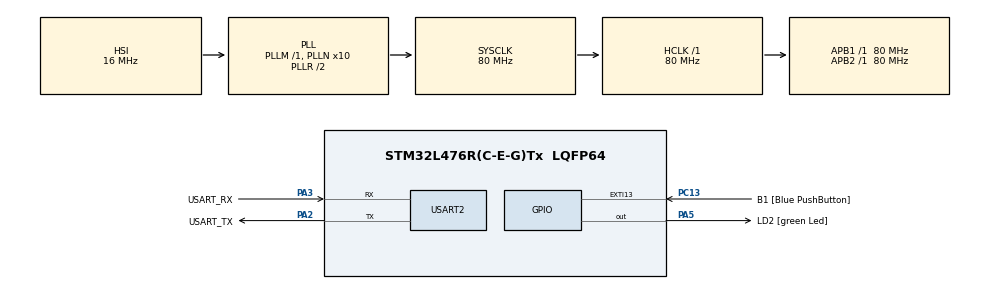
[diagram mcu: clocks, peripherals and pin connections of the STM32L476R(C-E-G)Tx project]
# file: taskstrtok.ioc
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Mcu.Family=STM32L4
Mcu.Name=STM32L476R(C-E-G)Tx
Mcu.Package=LQFP64
NVIC.PriorityGroup=NVIC_PRIORITYGROUP_4
PA13\ (JTMS-SWDIO).GPIO_Label=TMS
PA13\ (JTMS-SWDIO).Mode=Serial_Wire
PA13\ (JTMS-SWDIO).Signal=SYS_JTMS-SWDIO
PA14\ (JTCK-SWCLK).GPIO_Label=TCK
PA14\ (JTCK-SWCLK).Mode=Serial_Wire
PA14\ (JTCK-SWCLK).Signal=SYS_JTCK-SWCLK
PA2.GPIO_Label=USART_TX
PA2.GPIO_Mode=GPIO_MODE_AF_PP
PA2.GPIO_PuPd=GPIO_NOPULL
PA2.GPIO_Speed=GPIO_SPEED_FREQ_VERY_HIGH
PA2.Mode=Asynchronous
PA2.Signal=USART2_TX
PA3.GPIO_Label=USART_RX
PA3.GPIO_Mode=GPIO_MODE_AF_PP
PA3.GPIO_PuPd=GPIO_NOPULL
PA3.GPIO_Speed=GPIO_SPEED_FREQ_VERY_HIGH
PA3.Mode=Asynchronous
PA3.Signal=USART2_RX
PA5.GPIO_Label=LD2 [green Led]
PA5.GPIO_ModeDefaultOutputPP=GPIO_MODE_OUTPUT_PP
PA5.GPIO_PuPd=GPIO_NOPULL
PA5.GPIO_Speed=GPIO_SPEED_FREQ_LOW
PA5.Signal=GPIO_Output
PB3\ (JTDO-TRACESWO).GPIO_Label=SWO
PB3\ (JTDO-TRACESWO).Signal=SYS_JTDO-SWO
PC13.GPIO_Label=B1 [Blue PushButton]
PC13.GPIO_ModeDefaultEXTI=GPIO_MODE_IT_FALLING
PC13.GPIO_PuPd=GPIO_NOPULL
PC13.Signal=GPXTI13
PC14-OSC32_IN\ (PC14).Mode=LSE-External-Oscillator
PC14-OSC32_IN\ (PC14).Signal=RCC_OSC32_IN
PC15-OSC32_OUT\ (PC15).Mode=LSE-External-Oscillator
PC15-OSC32_OUT\ (PC15).Signal=RCC_OSC32_OUT
PH0-OSC_IN\ (PH0).Signal=RCC_OSC_IN
PH1-OSC_OUT\ (PH1).Signal=RCC_OSC_OUT
ProjectManager.HeapSize=0x200
ProjectManager.StackSize=0x400
ProjectManager.TargetToolchain=STM32CubeIDE
RCC.ADCFreq_Value=64000000
RCC.AHBFreq_Value=80000000
RCC.APB1Freq_Value=80000000
RCC.APB1TimFreq_Value=80000000
RCC.APB2Freq_Value=80000000
RCC.APB2TimFreq_Value=80000000
RCC.CortexFreq_Value=80000000
RCC.HCLKFreq_Value=80000000
RCC.HSE_VALUE=8000000
RCC.HSI_VALUE=16000000
RCC.MSI_VALUE=4000000
RCC.PLLN=10
RCC.PLLSourceVirtual=RCC_PLLSOURCE_HSI
RCC.PREFETCH_ENABLE=1
RCC.SYSCLKFreq_VALUE=80000000
RCC.SYSCLKSource=RCC_SYSCLKSOURCE_PLLCLK
RCC.USBFreq_Value=64000000
RCC.VCOOutputFreq_Value=160000000
USART2.VirtualMode-Asynchronous=VM_ASYNC
board=NUCLEO-L476RG

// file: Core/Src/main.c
/* USER CODE BEGIN Header */
/**
  ******************************************************************************
  * @file           : main.c
  * @brief          : Main program body
  ******************************************************************************
  * @attention
  *
  * Copyright (c) 2022 STMicroelectronics.
  * All rights reserved.
  *
  * This software is licensed under terms that can be found in the LICENSE file
  * in the root directory of this software component.
  * If no LICENSE file comes with this software, it is provided AS-IS.
  *
  ******************************************************************************
  */
/* USER CODE END Header */
#include "main.h"

/* USER CODE BEGIN Includes */
#include <stdio.h>
#include <string.h>
#include <stdlib.h>
/* USER CODE END Includes */

 UART_HandleTypeDef huart2;

void SystemClock_Config(void);
static void MX_GPIO_Init(void);
static void MX_USART2_UART_Init(void);

/* USER CODE BEGIN 0 */

/////////////////////////////////////////////////////////////////////////
// Led task definitions and functions
/////////////////////////////////////////////////////////////////////////

enum LedTaskState
{
	LedOn,
	LedOff,
};

enum LedTaskState ledState;
int ledCount;
int ledMaxCount;

void ledTask()
{
	if (ledState == LedOn)
	{
		if (ledCount++ >= ledMaxCount)
		{
			HAL_GPIO_TogglePin(LD2_GPIO_Port, LD2_Pin);
			ledCount = 0;
		}
	}
	else if (ledState == LedOff)
	{
		//HAL_GPIO_WritePin(LD2_GPIO_Port, LD2_Pin, 0);
	}
}

void ledStart(int maxCount)
{
	ledState = LedOn;
	ledMaxCount = maxCount;
}

void ledStop()
{
	ledState = LedOff;
	HAL_GPIO_WritePin(LD2_GPIO_Port, LD2_Pin, 0);
}

/////////////////////////////////////////////////////////////////////////
// Communication task definitions and functions
/////////////////////////////////////////////////////////////////////////

#define MAX_BUFFER_LENGTH 100

uint8_t cmdbuffer[MAX_BUFFER_LENGTH];
int cmdcount = 0;

int commTask()
{
	uint8_t ch;

	HAL_StatusTypeDef Status = HAL_UART_Receive(&huart2, &ch, 1, 0);
	if (Status != HAL_OK) {
		return 0;
	}

	if (ch != '\r' && ch != '\n')
	{
		HAL_UART_Transmit(&huart2, &ch, 1, 0xFFFF);

		if (cmdcount >= MAX_BUFFER_LENGTH)
		{
			cmdcount = 0;
		}

		cmdbuffer[cmdcount++] = ch;
		return 0;
	}

	HAL_UART_Transmit(&huart2, (uint8_t*)"\r\n", 2, 0xFFFF);

	cmdbuffer[cmdcount] = 0;
	cmdcount = 0;
	return 1;
}

/////////////////////////////////////////////////////////////////////////
// REdirecting printf to UART
/////////////////////////////////////////////////////////////////////////
int _write(int fd, char* ptr, int len) {
    HAL_UART_Transmit(&huart2, (uint8_t *) ptr, len, HAL_MAX_DELAY);
    return len;
}

void handleCommand()
{

  int maxCount;

  const char * s = " ";
  char *token;
  token = strtok(cmdbuffer, s);

  while( token != NULL )
  {
	  if (token == 0)
	    {
	  	  return;
	    }

	    if (strcmp(token, "start") == 0)
	    {
	    	token = strtok(NULL, s);
	    	maxCount= atoi (token);
	    	ledStart(maxCount);

	    }
	    else if (strcmp(token, "stop") == 0)
	    {
	  	  ledStop();
	    }
	    else
	    {
	  	  printf("Invalid command\r\n");
	    }

        token = strtok(NULL, s);
  }

}

/* USER CODE END 0 */

int main(void)
{

  /* MCU Configuration--------------------------------------------------------*/

  /* Reset of all peripherals, Initializes the Flash interface and the Systick. */
  HAL_Init();

  /* Configure the system clock */
  SystemClock_Config();

  /* Initialize all configured peripherals */
  MX_GPIO_Init();
  MX_USART2_UART_Init();

  /* Infinite loop */
  while (1)
  {

    /* USER CODE BEGIN 3 */
	  ledTask();
	  if (commTask())
	  {
		  handleCommand();
	  }
  }
  /* USER CODE END 3 */
}

void SystemClock_Config(void)
{
  RCC_OscInitTypeDef RCC_OscInitStruct = {0};
  RCC_ClkInitTypeDef RCC_ClkInitStruct = {0};

  /** Configure the main internal regulator output voltage
  */
  if (HAL_PWREx_ControlVoltageScaling(PWR_REGULATOR_VOLTAGE_SCALE1) != HAL_OK)
  {
    Error_Handler();
  }

  /** Initializes the RCC Oscillators according to the specified parameters
  * in the RCC_OscInitTypeDef structure.
  */
  RCC_OscInitStruct.OscillatorType = RCC_OSCILLATORTYPE_HSI;
  RCC_OscInitStruct.HSIState = RCC_HSI_ON;
  RCC_OscInitStruct.HSICalibrationValue = RCC_HSICALIBRATION_DEFAULT;
  RCC_OscInitStruct.PLL.PLLState = RCC_PLL_ON;
  RCC_OscInitStruct.PLL.PLLSource = RCC_PLLSOURCE_HSI;
  RCC_OscInitStruct.PLL.PLLM = 1;
  RCC_OscInitStruct.PLL.PLLN = 10;
  RCC_OscInitStruct.PLL.PLLP = RCC_PLLP_DIV7;
  RCC_OscInitStruct.PLL.PLLQ = RCC_PLLQ_DIV2;
  RCC_OscInitStruct.PLL.PLLR = RCC_PLLR_DIV2;
  if (HAL_RCC_OscConfig(&RCC_OscInitStruct) != HAL_OK)
  {
    Error_Handler();
  }

  /** Initializes the CPU, AHB and APB buses clocks
  */
  RCC_ClkInitStruct.ClockType = RCC_CLOCKTYPE_HCLK|RCC_CLOCKTYPE_SYSCLK
                              |RCC_CLOCKTYPE_PCLK1|RCC_CLOCKTYPE_PCLK2;
  RCC_ClkInitStruct.SYSCLKSource = RCC_SYSCLKSOURCE_PLLCLK;
  RCC_ClkInitStruct.AHBCLKDivider = RCC_SYSCLK_DIV1;
  RCC_ClkInitStruct.APB1CLKDivider = RCC_HCLK_DIV1;
  RCC_ClkInitStruct.APB2CLKDivider = RCC_HCLK_DIV1;

  if (HAL_RCC_ClockConfig(&RCC_ClkInitStruct, FLASH_LATENCY_4) != HAL_OK)
  {
    Error_Handler();
  }
}

static void MX_USART2_UART_Init(void)
{

  huart2.Instance = USART2;
  huart2.Init.BaudRate = 115200;
  huart2.Init.WordLength = UART_WORDLENGTH_8B;
  huart2.Init.StopBits = UART_STOPBITS_1;
  huart2.Init.Parity = UART_PARITY_NONE;
  huart2.Init.Mode = UART_MODE_TX_RX;
  huart2.Init.HwFlowCtl = UART_HWCONTROL_NONE;
  huart2.Init.OverSampling = UART_OVERSAMPLING_16;
  huart2.Init.OneBitSampling = UART_ONE_BIT_SAMPLE_DISABLE;
  huart2.AdvancedInit.AdvFeatureInit = UART_ADVFEATURE_NO_INIT;
  if (HAL_UART_Init(&huart2) != HAL_OK)
  {
    Error_Handler();
  }

}

static void MX_GPIO_Init(void)
{
  GPIO_InitTypeDef GPIO_InitStruct = {0};

  /* GPIO Ports Clock Enable */
  __HAL_RCC_GPIOC_CLK_ENABLE();
  __HAL_RCC_GPIOH_CLK_ENABLE();
  __HAL_RCC_GPIOA_CLK_ENABLE();
  __HAL_RCC_GPIOB_CLK_ENABLE();

  /*Configure GPIO pin Output Level */
  HAL_GPIO_WritePin(LD2_GPIO_Port, LD2_Pin, GPIO_PIN_RESET);

  /*Configure GPIO pin : B1_Pin */
  GPIO_InitStruct.Pin = B1_Pin;
  GPIO_InitStruct.Mode = GPIO_MODE_IT_FALLING;
  GPIO_InitStruct.Pull = GPIO_NOPULL;
  HAL_GPIO_Init(B1_GPIO_Port, &GPIO_InitStruct);

  /*Configure GPIO pin : LD2_Pin */
  GPIO_InitStruct.Pin = LD2_Pin;
  GPIO_InitStruct.Mode = GPIO_MODE_OUTPUT_PP;
  GPIO_InitStruct.Pull = GPIO_NOPULL;
  GPIO_InitStruct.Speed = GPIO_SPEED_FREQ_LOW;
  HAL_GPIO_Init(LD2_GPIO_Port, &GPIO_InitStruct);

}

void Error_Handler(void)
{
  __disable_irq();
  while (1)
  {
  }
}
